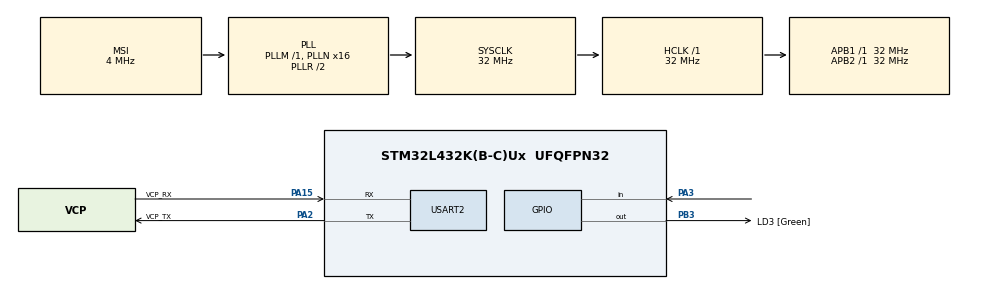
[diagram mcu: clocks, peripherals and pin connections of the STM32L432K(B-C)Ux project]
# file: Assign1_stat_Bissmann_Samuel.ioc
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FREERTOS.Tasks01=allocTask1,8,128,allocTask1_Entry,Default,NULL,Static,allocTask1Buffer,allocTask1ControlBlock;allocTask2,8,128,allocTask2_Entry,Default,NULL,Static,allocTask2Buffer,allocTask2ControlBlock;allocTask3,8,128,allocTask3_Entry,Default,NULL,Static,allocTask3Buffer,allocTask3ControlBlock;StackAnalyzer,8,128,StackAnalyzer_Entry,Default,NULL,Static,StackAnalyzerBuffer,StackAnalyzerControlBlock
FREERTOS.configCHECK_FOR_STACK_OVERFLOW=2
FREERTOS.configTOTAL_HEAP_SIZE=3000
FREERTOS.configUSE_NEWLIB_REENTRANT=1
Mcu.Family=STM32L4
Mcu.Name=STM32L432K(B-C)Ux
Mcu.Package=UFQFPN32
NVIC.PriorityGroup=NVIC_PRIORITYGROUP_4
NVIC.TIM6_DAC_IRQn=true\:15\:0\:false\:false\:true\:false\:false\:true\:true
NVIC.TimeBase=TIM6_DAC_IRQn
NVIC.TimeBaseIP=TIM6
NVIC.USART2_IRQn=true\:5\:0\:false\:false\:true\:true\:true\:true\:true
PA0.GPIO_Label=MCO [High speed clock in]
PA0.Mode=HSE-External-Clock-Source-for-LittleOrca
PA0.Signal=RCC_CK_IN
PA13\ (JTMS-SWDIO).GPIO_Label=SWDIO
PA13\ (JTMS-SWDIO).Mode=Serial_Wire
PA13\ (JTMS-SWDIO).Signal=SYS_JTMS-SWDIO
PA14\ (JTCK-SWCLK).GPIO_Label=SWCLK
PA14\ (JTCK-SWCLK).Mode=Serial_Wire
PA14\ (JTCK-SWCLK).Signal=SYS_JTCK-SWCLK
PA15\ (JTDI).GPIO_Label=VCP_RX
PA15\ (JTDI).Mode=Asynchronous
PA15\ (JTDI).Signal=USART2_RX
PA2.GPIO_Label=VCP_TX
PA2.Mode=Asynchronous
PA2.Signal=USART2_TX
PA3.GPIO_PuPd=GPIO_PULLUP
PA3.Signal=GPIO_Input
PB3\ (JTDO-TRACESWO).GPIO_Label=LD3 [Green]
PB3\ (JTDO-TRACESWO).Signal=GPIO_Output
PC14-OSC32_IN\ (PC14).Mode=LSE-External-Oscillator
PC14-OSC32_IN\ (PC14).Signal=RCC_OSC32_IN
PC15-OSC32_OUT\ (PC15).Mode=LSE-External-Oscillator
PC15-OSC32_OUT\ (PC15).Signal=RCC_OSC32_OUT
ProjectManager.HeapSize=0x200
ProjectManager.StackSize=0x400
ProjectManager.TargetToolchain=STM32CubeIDE
RCC.AHBFreq_Value=32000000
RCC.APB1Freq_Value=32000000
RCC.APB1TimFreq_Value=32000000
RCC.APB2Freq_Value=32000000
RCC.APB2TimFreq_Value=32000000
RCC.CortexFreq_Value=32000000
RCC.HCLKFreq_Value=32000000
RCC.HSE_VALUE=8000000
RCC.HSI16_VALUE=16000000
RCC.HSI48_VALUE=48000000
RCC.HSI_VALUE=16000000
RCC.MSI_VALUE=4000000
RCC.PLLMUL=RCC_PLLMUL_4
RCC.PLLN=16
RCC.SYSCLKFreq_VALUE=32000000
RCC.SYSCLKSource=RCC_SYSCLKSOURCE_PLLCLK
RCC.VCOOutputFreq_Value=64000000
USART2.VirtualMode-Asynchronous=VM_ASYNC
VP_FREERTOS_VS_CMSIS_V2.Mode=CMSIS_V2
VP_SYS_VS_tim6.Mode=TIM6
board=NUCLEO-L432KC

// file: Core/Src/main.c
/* USER CODE BEGIN Header */
/**
 ******************************************************************************
 * @file           : main.c
 * @brief          : Demonstration of printf retargeting to UART in a FreeRTOS environment
 ******************************************************************************
 * @attention
 *
 * Copyright (c) 2024 STMicroelectronics.
 * All rights reserved.
 *
 * This software component is licensed under terms that can be found in the
 * LICENSE file in the root directory of this software component. If no LICENSE
 * file comes with this software component, it is provided AS-IS.
 *
 ******************************************************************************
 *
 * ## Demonstration Overview
 *
 * This example demonstrates how to retarget the `printf` function to send output
 * over UART instead of the standard output (STDOUT), which is not natively
 * available on bare-metal microcontroller systems. By retargeting `printf`, we can
 * use it for debugging or sending messages over UART, enhancing the debugging
 * capabilities during development.
 *
 * ## Key Components
 *
 * - `MX_USART2_UART_Init()`: Initializes the USART2 peripheral for UART communication.
 * - `__io_putchar()`: Overrides the default putchar function to transmit characters over UART.
 * - `_write()`: System call override used by newlib (or similar C libraries) to implement
 *    low-level write functionality. This function calls `__io_putchar()` to transmit data.
 *
 * ## Tasks
 *
 * - `StartDefaultTask`: A placeholder default task, demonstrating the FreeRTOS task setup.
 * - `demo_task_GPIO_func`: Toggles an LED at a fixed interval, serving as a simple visual indicator.
 * - `demo_task_UART_func`: Periodically sends a message over UART using the retargeted `printf`.
 *
 * ## How It Works
 *
 * The `printf` function is commonly used for sending formatted output to STDOUT. In embedded
 * systems, STDOUT is not available, requiring us to retarget `printf` to a different output
 * mechanism, such as UART. This is achieved by overriding the `_write` system call and
 * `__io_putchar()` function, directing `printf` output to UART.
 *
 * This demonstration configures a UART peripheral for communication and implements the necessary
 * functions for `printf` retargeting. It includes tasks for visual (LED) and UART output to
 * illustrate real-time system behavior and debugging techniques in a FreeRTOS environment.
 *
 ******************************************************************************
 */
/* USER CODE END Header */
#include "main.h"
#include "cmsis_os.h"

/* USER CODE BEGIN Includes */
#include <stdio.h>
/* USER CODE END Includes */

typedef StaticTask_t osStaticThreadDef_t;

/* USER CODE BEGIN PD */
#define MAX_DEPTH 10
/* USER CODE END PD */

UART_HandleTypeDef huart2;

/* Definitions for allocTask1 */
osThreadId_t allocTask1Handle;
uint32_t allocTask1Buffer[ 128 ];
osStaticThreadDef_t allocTask1ControlBlock;
const osThreadAttr_t allocTask1_attributes = {
  .name = "allocTask1",
  .cb_mem = &allocTask1ControlBlock,
  .cb_size = sizeof(allocTask1ControlBlock),
  .stack_mem = &allocTask1Buffer[0],
  .stack_size = sizeof(allocTask1Buffer),
  .priority = (osPriority_t) osPriorityLow,
};
/* Definitions for allocTask2 */
osThreadId_t allocTask2Handle;
uint32_t allocTask2Buffer[ 128 ];
osStaticThreadDef_t allocTask2ControlBlock;
const osThreadAttr_t allocTask2_attributes = {
  .name = "allocTask2",
  .cb_mem = &allocTask2ControlBlock,
  .cb_size = sizeof(allocTask2ControlBlock),
  .stack_mem = &allocTask2Buffer[0],
  .stack_size = sizeof(allocTask2Buffer),
  .priority = (osPriority_t) osPriorityLow,
};
/* Definitions for allocTask3 */
osThreadId_t allocTask3Handle;
uint32_t allocTask3Buffer[ 128 ];
osStaticThreadDef_t allocTask3ControlBlock;
const osThreadAttr_t allocTask3_attributes = {
  .name = "allocTask3",
  .cb_mem = &allocTask3ControlBlock,
  .cb_size = sizeof(allocTask3ControlBlock),
  .stack_mem = &allocTask3Buffer[0],
  .stack_size = sizeof(allocTask3Buffer),
  .priority = (osPriority_t) osPriorityLow,
};
/* Definitions for StackAnalyzer */
osThreadId_t StackAnalyzerHandle;
uint32_t StackAnalyzerBuffer[ 128 ];
osStaticThreadDef_t StackAnalyzerControlBlock;
const osThreadAttr_t StackAnalyzer_attributes = {
  .name = "StackAnalyzer",
  .cb_mem = &StackAnalyzerControlBlock,
  .cb_size = sizeof(StackAnalyzerControlBlock),
  .stack_mem = &StackAnalyzerBuffer[0],
  .stack_size = sizeof(StackAnalyzerBuffer),
  .priority = (osPriority_t) osPriorityLow,
};

void SystemClock_Config(void);
static void MX_GPIO_Init(void);
static void MX_USART2_UART_Init(void);
void allocTask1_Entry(void *argument);
void allocTask2_Entry(void *argument);
void allocTask3_Entry(void *argument);
void StackAnalyzer_Entry(void *argument);

/* USER CODE BEGIN 0 */

/**
 * @brief   This function recursively calls itself until depth is reached
 * @note    using 14 bytes per recursion
 * @param   int depth the actual depth of the function (momentary)
 * @retval  (int) ... Return character.
 */
void RecursiveFunction(int depth) {

	if (depth > 0) {
		RecursiveFunction(depth - 1);
	} else {
		// Base case: do nothing, just return
	}
}

/**
 * @brief   Print given character on UART 2. Translate '\n' to "\r\n" on the fly.
 *          Retargets printf function from stdout to UART interface by overwriting putchar function.
 *          This function is a custom implementation of the low-level IO function used by printf.
 *          By retargeting stdout to UART, we enable printf to send formatted strings over UART.
 * @note    This approach is particularly useful in embedded systems where direct console
 *          access is not available, and UART is commonly used for logs and debugging output.
 * @param   int ch ... Character to be transmitted.
 * @retval  (int) ... Return character.
 */
int __io_putchar(int ch)
{
	int ret;
	while ((ret=HAL_UART_GetState(&huart2)) != HAL_UART_STATE_READY)
		;

	if (ch == '\n')
	{
		static uint8_t buf[2] = { '\r', '\n' };
		HAL_UART_Transmit(&huart2, buf, sizeof(buf), 1000);
	}
	else
	{
		static char buf;
		buf = ch;
		HAL_UART_Transmit(&huart2, (uint8_t *)&buf, 1, 1000);
	}
	return ch;
}

/**
 * @brief   Called by "printf" to output formatted string by calling __io_putchar() function.
 *          Used to retarget printf function from stdout to UART interface.
 *          This is part of the low-level system IO overrides that direct printf output
 *          through our custom UART transmission logic.
 * @note    _write is a system call that newlib's printf relies on to output characters.
 *          By overriding this function, all standard IO operations can be redirected to
 *          use UART, making printf an effective tool for embedded debugging.
 * @param   int file ... parameter not used by this retarget implementation (normally used as a file pointer)
 * @param   char *ptr ... ptr to data array
 * @param   int len ... length of data to be transmitted (in byte)
 * @retval  (int) ... Return length in byte.
 */
int _write(int file, char *ptr, int len)
{
	for(int DataIdx = 0; DataIdx < len; DataIdx++) {
		__io_putchar(*ptr++);
	}
	return len;
}
/* USER CODE END 0 */

int main(void)
{

  /* MCU Configuration--------------------------------------------------------*/

  /* Reset of all peripherals, Initializes the Flash interface and the Systick. */
  HAL_Init();

  /* Configure the system clock */
  SystemClock_Config();

  /* Initialize all configured peripherals */
  MX_GPIO_Init();
  MX_USART2_UART_Init();

  /* Init scheduler */
  osKernelInitialize();

  /* Create the thread(s) */
  /* creation of allocTask1 */
  allocTask1Handle = osThreadNew(allocTask1_Entry, NULL, &allocTask1_attributes);

  /* creation of allocTask2 */
  allocTask2Handle = osThreadNew(allocTask2_Entry, NULL, &allocTask2_attributes);

  /* creation of allocTask3 */
  allocTask3Handle = osThreadNew(allocTask3_Entry, NULL, &allocTask3_attributes);

  /* creation of StackAnalyzer */
  StackAnalyzerHandle = osThreadNew(StackAnalyzer_Entry, NULL, &StackAnalyzer_attributes);

  /* Start scheduler */
  osKernelStart();

  /* We should never get here as control is now taken by the scheduler */
  /* Infinite loop */
	while (1)
	{

	}
}

void SystemClock_Config(void)
{
  RCC_OscInitTypeDef RCC_OscInitStruct = {0};
  RCC_ClkInitTypeDef RCC_ClkInitStruct = {0};

  /** Configure the main internal regulator output voltage
  */
  if (HAL_PWREx_ControlVoltageScaling(PWR_REGULATOR_VOLTAGE_SCALE1) != HAL_OK)
  {
    Error_Handler();
  }

  /** Configure LSE Drive Capability
  */
  HAL_PWR_EnableBkUpAccess();
  __HAL_RCC_LSEDRIVE_CONFIG(RCC_LSEDRIVE_LOW);

  /** Initializes the RCC Oscillators according to the specified parameters
  * in the RCC_OscInitTypeDef structure.
  */
  RCC_OscInitStruct.OscillatorType = RCC_OSCILLATORTYPE_LSE|RCC_OSCILLATORTYPE_MSI;
  RCC_OscInitStruct.LSEState = RCC_LSE_ON;
  RCC_OscInitStruct.MSIState = RCC_MSI_ON;
  RCC_OscInitStruct.MSICalibrationValue = 0;
  RCC_OscInitStruct.MSIClockRange = RCC_MSIRANGE_6;
  RCC_OscInitStruct.PLL.PLLState = RCC_PLL_ON;
  RCC_OscInitStruct.PLL.PLLSource = RCC_PLLSOURCE_MSI;
  RCC_OscInitStruct.PLL.PLLM = 1;
  RCC_OscInitStruct.PLL.PLLN = 16;
  RCC_OscInitStruct.PLL.PLLP = RCC_PLLP_DIV7;
  RCC_OscInitStruct.PLL.PLLQ = RCC_PLLQ_DIV2;
  RCC_OscInitStruct.PLL.PLLR = RCC_PLLR_DIV2;
  if (HAL_RCC_OscConfig(&RCC_OscInitStruct) != HAL_OK)
  {
    Error_Handler();
  }

  /** Initializes the CPU, AHB and APB buses clocks
  */
  RCC_ClkInitStruct.ClockType = RCC_CLOCKTYPE_HCLK|RCC_CLOCKTYPE_SYSCLK
                              |RCC_CLOCKTYPE_PCLK1|RCC_CLOCKTYPE_PCLK2;
  RCC_ClkInitStruct.SYSCLKSource = RCC_SYSCLKSOURCE_PLLCLK;
  RCC_ClkInitStruct.AHBCLKDivider = RCC_SYSCLK_DIV1;
  RCC_ClkInitStruct.APB1CLKDivider = RCC_HCLK_DIV1;
  RCC_ClkInitStruct.APB2CLKDivider = RCC_HCLK_DIV1;

  if (HAL_RCC_ClockConfig(&RCC_ClkInitStruct, FLASH_LATENCY_1) != HAL_OK)
  {
    Error_Handler();
  }

  /** Enable MSI Auto calibration
  */
  HAL_RCCEx_EnableMSIPLLMode();
}

static void MX_USART2_UART_Init(void)
{

  huart2.Instance = USART2;
  huart2.Init.BaudRate = 115200;
  huart2.Init.WordLength = UART_WORDLENGTH_8B;
  huart2.Init.StopBits = UART_STOPBITS_1;
  huart2.Init.Parity = UART_PARITY_NONE;
  huart2.Init.Mode = UART_MODE_TX_RX;
  huart2.Init.HwFlowCtl = UART_HWCONTROL_NONE;
  huart2.Init.OverSampling = UART_OVERSAMPLING_16;
  huart2.Init.OneBitSampling = UART_ONE_BIT_SAMPLE_DISABLE;
  huart2.AdvancedInit.AdvFeatureInit = UART_ADVFEATURE_NO_INIT;
  if (HAL_UART_Init(&huart2) != HAL_OK)
  {
    Error_Handler();
  }

}

static void MX_GPIO_Init(void)
{
  GPIO_InitTypeDef GPIO_InitStruct = {0};

  /* GPIO Ports Clock Enable */
  __HAL_RCC_GPIOC_CLK_ENABLE();
  __HAL_RCC_GPIOA_CLK_ENABLE();
  __HAL_RCC_GPIOB_CLK_ENABLE();

  /*Configure GPIO pin Output Level */
  HAL_GPIO_WritePin(LD3_GPIO_Port, LD3_Pin, GPIO_PIN_RESET);

  /*Configure GPIO pin : PA3 */
  GPIO_InitStruct.Pin = GPIO_PIN_3;
  GPIO_InitStruct.Mode = GPIO_MODE_INPUT;
  GPIO_InitStruct.Pull = GPIO_PULLUP;
  HAL_GPIO_Init(GPIOA, &GPIO_InitStruct);

  /*Configure GPIO pin : LD3_Pin */
  GPIO_InitStruct.Pin = LD3_Pin;
  GPIO_InitStruct.Mode = GPIO_MODE_OUTPUT_PP;
  GPIO_InitStruct.Pull = GPIO_NOPULL;
  GPIO_InitStruct.Speed = GPIO_SPEED_FREQ_LOW;
  HAL_GPIO_Init(LD3_GPIO_Port, &GPIO_InitStruct);

}

/* USER CODE BEGIN Header_allocTask1_Entry */
/**
  * @brief  Function implementing the allocTask1 thread.
  * This function is allocating stack via a recursing function
  * everytime it returnes the depth or the number of recursions is increased
  * @param  argument: Not used
  * @retval None
  */
/* USER CODE END Header_allocTask1_Entry */
void allocTask1_Entry(void *argument)
{
  /* USER CODE BEGIN 5 */

	volatile uint32_t recursions = 0;

	while (1) {
		// Start recursive calls with a depth that's likely to overflow the stack
		RecursiveFunction(recursions); // Adjust this depth based on your system's limits
		recursions++;

		osDelay(1000); // Loop indefinitely if we somehow avoid overflow
	}

  /* USER CODE END 5 */
}

/* USER CODE BEGIN Header_allocTask2_Entry */
/**
* @brief Function This function is allocating stack space via declaration of arrays.
* @param argument: Not used
* @retval None
*/
/* USER CODE END Header_allocTask2_Entry */
void allocTask2_Entry(void *argument)
{
  /* USER CODE BEGIN allocTask2_Entry */
		volatile uint32_t pInteger[8];

	    volatile uint32_t pInteger2[8];

	    volatile uint32_t pInteger3[8];

	    volatile uint32_t pInteger4[8];

	    volatile uint32_t pInteger5[8];

	for(;;)
	  {
osDelay(1000);
	  }

  /* USER CODE END allocTask2_Entry */
}

/* USER CODE BEGIN Header_allocTask3_Entry */
/**
* @brief Function This Task recurringly allocates memory, without freeing it
* a memory leak is created since the pointer to the memory is lost.
* still it does not change the stack but rather the heap until the uC crashes
* @param argument: Not used
* @retval None
*/
/* USER CODE END Header_allocTask3_Entry */
void allocTask3_Entry(void *argument)
{
  /* USER CODE BEGIN allocTask3_Entry */
//inducing memory leak

 volatile uint32_t* pInteger;

  /* Infinite loop */
  for(;;)
  {
	pInteger= pvPortMalloc(100);
    osDelay(1000);

  }
  /* USER CODE END allocTask3_Entry */
}

void StackAnalyzer_Entry(void *argument)
{
  /* USER CODE BEGIN StackAnalyzer_Entry */
  /* Infinite loop */
  for(;;)
  {
	 printf("\n*************************************************************************\n");
	 printf("Task1				%d of %d bytes available \n",(int)osThreadGetStackSpace(allocTask1Handle),(int)allocTask1_attributes.stack_size);
	 printf("Task2				%d of %d bytes available \n",(int)osThreadGetStackSpace(allocTask2Handle),(int)allocTask2_attributes.stack_size);
	 printf("Task3				%d of %d bytes available \n",(int)osThreadGetStackSpace(allocTask3Handle),(int)allocTask3_attributes.stack_size);
	 printf("*************************************************************************\n");
    osDelay(1000);
  }
  /* USER CODE END StackAnalyzer_Entry */
}

void HAL_TIM_PeriodElapsedCallback(TIM_HandleTypeDef *htim)
{
  if (htim->Instance == TIM6) {
    HAL_IncTick();
  }
}

void Error_Handler(void)
{
	__disable_irq();
	while (1)
	{
	}
}
